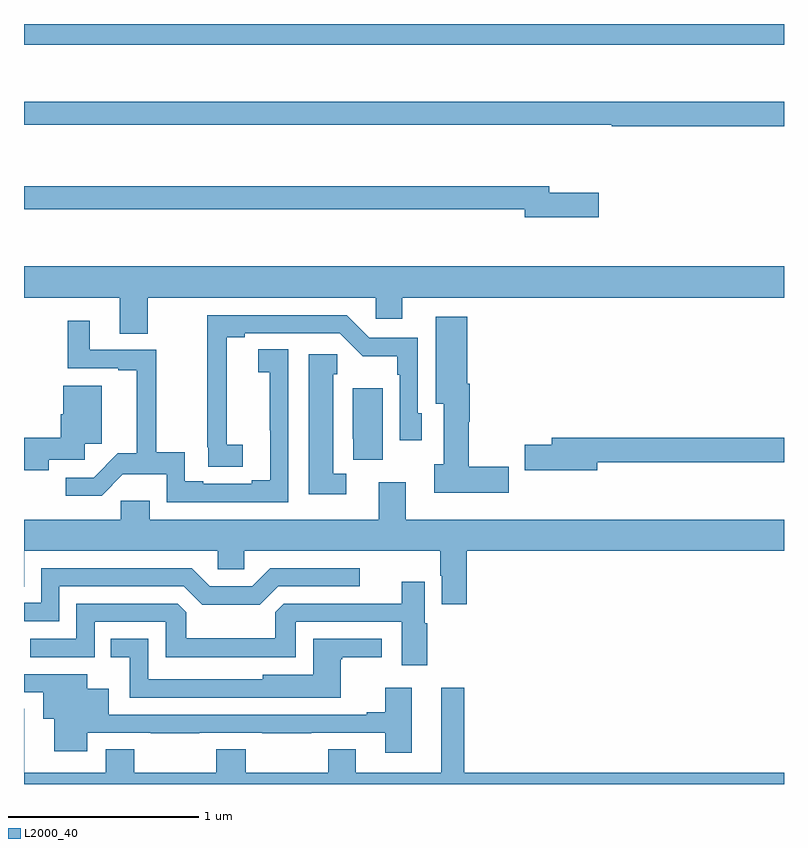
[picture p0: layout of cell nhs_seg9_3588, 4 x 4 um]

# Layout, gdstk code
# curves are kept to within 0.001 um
import gdstk
lib = gdstk.Library(unit=1e-6, precision=1e-09)
def R(c, l, rs):  # rectangles x0, y0, x1, y1
    for r in rs: c.add(gdstk.rectangle(r[:2], r[2:], *l))
def P(c, l, *ps):  # polygons
    for p in ps: c.add(gdstk.Polygon(p, *l))
L2000_40 = (2000, 40)

nhs_seg9_3588 = lib.new_cell('nhs_seg9_3588')
R(nhs_seg9_3588, L2000_40, [(315,1224.392,319,1224.5)])
P(nhs_seg9_3588, L2000_40, [(319,1224.091),(315,1224.091),(315,1223.97),(318.094,1223.97),(318.094,1223.962),(319,1223.962)],
  [(318.025,1223.613),(317.764,1223.613),(317.764,1223.647),(315,1223.647),(315,1223.526),(317.636,1223.526),(317.636,1223.483),(318.025,1223.483)],
  [(315.651,1223.06),(316.851,1223.06),(316.851,1222.95),(316.99,1222.95),(316.99,1223.06),(319,1223.06),(319,1223.224),(315,1223.224),(315,1223.06),(315.503,1223.06),(315.503,1222.87),(315.651,1222.87)],
  [(316.15,1222.286),(316.068,1222.286),(316.066,1222.852),(316.162,1222.852),(316.162,1222.872),(316.662,1222.872),(316.783,1222.751),(316.965,1222.751),(316.965,1222.655),(316.977,1222.655),(316.977,1222.308),(317.094,1222.308),(317.094,1222.452),(317.073,1222.452),(317.073,1222.848),(316.818,1222.848),(316.698,1222.968),(315.964,1222.968),(315.964,1222.273),(315.97,1222.273),(315.97,1222.171),(316.15,1222.171)],
  [(317.55,1222.169),(317.34,1222.169),(317.34,1222.406),(317.345,1222.406),(317.345,1222.606),(317.332,1222.606),(317.332,1222.96),(317.168,1222.96),(317.168,1222.502),(317.21,1222.502),(317.21,1222.182),(317.16,1222.182),(317.16,1222.034),(317.55,1222.034)],
  [(316.392,1222.787),(316.233,1222.787),(316.233,1222.667),(316.294,1222.667),(316.295,1222.1),(316.199,1222.1),(316.199,1222.08),(315.943,1222.08),(315.943,1222.094),(315.846,1222.094),(315.846,1222.247),(315.695,1222.247),(315.695,1222.785),(315.346,1222.785),(315.346,1222.939),(315.229,1222.939),(315.229,1222.689),(315.497,1222.689),(315.497,1222.677),(315.593,1222.677),(315.593,1222.24),(315.493,1222.24),(315.366,1222.113),(315.219,1222.113),(315.219,1222.017),(315.408,1222.017),(315.521,1222.13),(315.75,1222.13),(315.75,1221.984),(316.392,1221.984)],
  [(316.696,1222.133),(316.627,1222.133),(316.627,1222.656),(316.649,1222.656),(316.649,1222.762),(316.499,1222.762),(316.499,1222.025),(316.696,1222.025)],
  [(315.13,1222.206),(315.321,1222.206),(315.321,1222.292),(315.409,1222.292),(315.409,1222.597),(315.206,1222.597),(315.206,1222.446),(315.194,1222.446),(315.194,1222.322),(315,1222.322),(315,1222.151),(315.13,1222.151)],
  [(316.888,1222.582),(316.73,1222.582),(316.73,1222.318),(316.732,1222.318),(316.732,1222.206),(316.888,1222.206)],
  [(318.016,1222.194),(319,1222.194),(319,1222.322),(317.777,1222.322),(317.777,1222.286),(317.635,1222.286),(317.635,1222.151),(318.016,1222.151)],
  [(317.33,1221.728),(319,1221.728),(319,1221.892),(317.008,1221.892),(317.008,1222.087),(316.868,1222.087),(316.868,1221.892),(315.661,1221.892),(315.661,1221.99),(315.51,1221.99),(315.51,1221.892),(315,1221.892),(315,1221.538),(315.001,1221.538),(315.001,1221.728),(316.02,1221.728),(316.02,1221.63),(316.158,1221.63),(316.158,1221.728),(317.191,1221.728),(317.191,1221.596),(317.198,1221.596),(317.198,1221.447),(317.33,1221.447)],
  [(315.186,1221.54),(315.84,1221.54),(315.938,1221.443),(316.241,1221.443),(316.338,1221.54),(316.768,1221.54),(316.768,1221.636),(316.296,1221.636),(316.2,1221.54),(315.978,1221.54),(315.882,1221.636),(315.09,1221.636),(315.09,1221.453),(315,1221.453),(315,1221.357),(315.186,1221.357)],
  [(317.123,1221.347),(317.11,1221.347),(317.11,1221.565),(316.988,1221.565),(316.988,1221.45),(316.368,1221.45),(316.323,1221.405),(316.323,1221.266),(315.855,1221.266),(315.855,1221.405),(315.81,1221.45),(315.276,1221.45),(315.276,1221.264),(315.033,1221.264),(315.033,1221.168),(315.372,1221.168),(315.372,1221.354),(315.747,1221.354),(315.747,1221.168),(316.431,1221.168),(316.431,1221.354),(316.988,1221.354),(316.988,1221.126),(317.123,1221.126)],
  [(316.666,1221.156),(316.674,1221.156),(316.674,1221.167),(316.882,1221.167),(316.882,1221.264),(316.523,1221.264),(316.523,1221.076),(316.257,1221.076),(316.257,1221.051),(315.654,1221.051),(315.654,1221.264),(315.457,1221.264),(315.457,1221.167),(315.557,1221.167),(315.557,1220.955),(316.357,1220.955),(316.357,1220.954),(316.666,1220.954)],
  [(317.041,1221.007),(316.901,1221.007),(316.901,1220.878),(316.805,1220.878),(316.805,1220.865),(315.445,1220.865),(315.445,1221.001),(315.334,1221.001),(315.334,1221.078),(315,1221.078),(315,1220.982),(315.101,1220.982),(315.101,1220.843),(315.158,1220.843),(315.158,1220.672),(315.334,1220.672),(315.334,1220.769),(315.667,1220.769),(315.667,1220.768),(315.923,1220.768),(315.923,1220.769),(316.255,1220.769),(316.255,1220.768),(316.511,1220.768),(316.511,1220.769),(316.901,1220.769),(316.901,1220.664),(317.041,1220.664)],
  [(319,1220.56),(317.317,1220.56),(317.317,1221.007),(317.195,1221.007),(317.195,1220.56),(316.747,1220.56),(316.747,1220.684),(316.6,1220.684),(316.6,1220.56),(316.167,1220.56),(316.167,1220.684),(316.012,1220.684),(316.012,1220.56),(315.579,1220.56),(315.579,1220.684),(315.431,1220.684),(315.431,1220.56),(315.001,1220.56),(315.001,1220.897),(315,1220.897),(315,1220.5),(319,1220.5)])

lib.write_gds('nhs_seg9_3588.gds')
